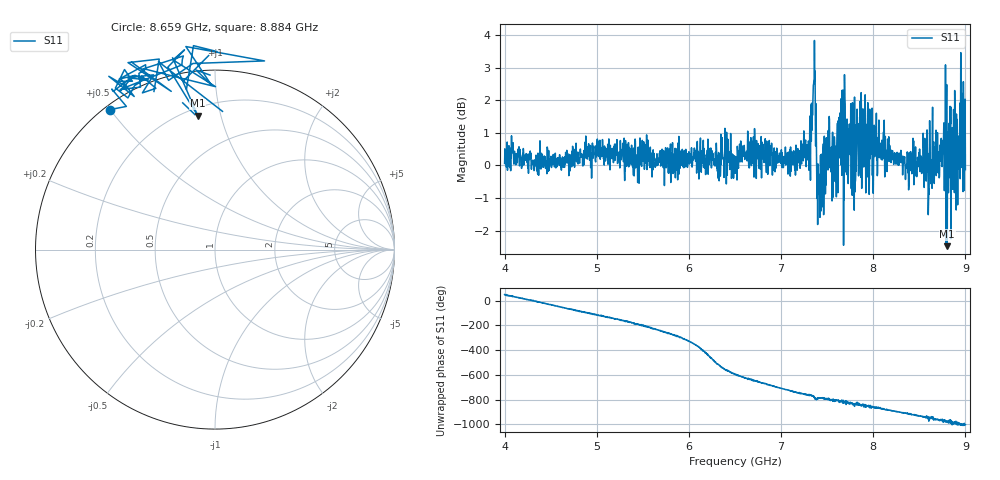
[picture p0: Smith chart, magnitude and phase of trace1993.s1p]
! Created with skrf 1.8.0 (http://scikit-rf.org).
# Hz S RI R 50.0
!freq ReS11 ImS11
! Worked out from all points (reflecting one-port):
!   1601 points, 4 GHz to 9 GHz, reference 50 ohm
!   lowest |S11| = -2.5 dB at 8.803 GHz (marker M1), VSWR 7.05, Z = 12.4 + j42.4 ohm
!   phase of S11 starts at 49 deg and turns -1052 deg over the sweep
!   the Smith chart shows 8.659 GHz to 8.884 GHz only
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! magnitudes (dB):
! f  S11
! 4 GHz  0.1
! 4.625 GHz  0.0
! 5.25 GHz  -0.1
! 5.875 GHz  0.2
! 6.5 GHz  -0.1
! 6.662 GHz  0.3
! 7.125 GHz  0.2
! 7.294 GHz  0.2
! 7.347 GHz  2.2
! 7.369 GHz  2.9
! 7.409 GHz  -0.8
! 7.516 GHz  0.2
! 7.578 GHz  0.9
! 7.65 GHz  2.0
! 7.703 GHz  0.3
! 7.75 GHz  0.3
! 7.784 GHz  -0.6
! 7.847 GHz  1.3
! 7.962 GHz  1.7
! 8.375 GHz  -0.2
! 8.566 GHz  0.6
! 8.612 GHz  1.4
! 8.634 GHz  0.2
! 8.759 GHz  0.8
! 8.803 GHz  -2.5
! 8.919 GHz  0.1
! 8.956 GHz  0.0
! 9 GHz  -0.1
